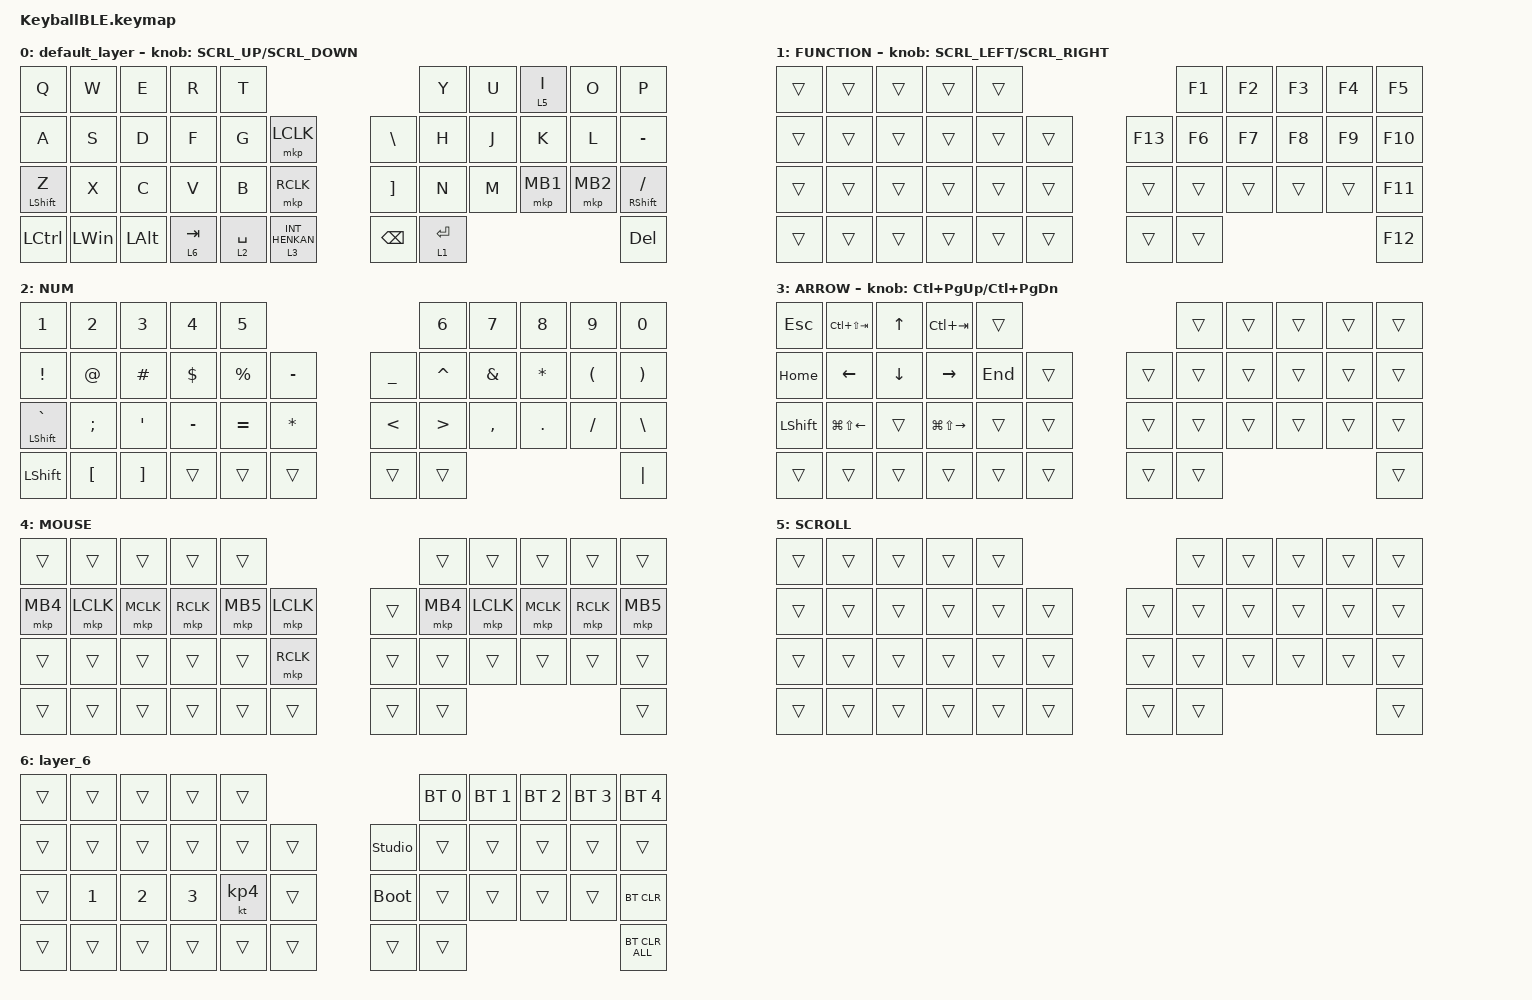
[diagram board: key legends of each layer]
#define ZMK_POINTING_DEFAULT_SCRL_VAL 120    // default: 10

#include <behaviors.dtsi>
#include <dt-bindings/zmk/bt.h>
#include <dt-bindings/zmk/keys.h>
#include <dt-bindings/zmk/pointing.h>

#define MOUSE 4
#define SCROLL 5
#define NUM 6

&mt {
    flavor = "balanced";
    quick-tap-ms = <0>;
};

/ {
    combos {
        compatible = "zmk,combos";

        double_quotation {
            bindings = <&kp DOUBLE_QUOTES>;
            key-positions = <20 21>;
        };
    };

    macros {
        to_layer_0: to_layer_0 {
            compatible = "zmk,behavior-macro-one-param";
            #binding-cells = <1>;
            bindings = <&to 0 &macro_param_1to1 &kp MACRO_PLACEHOLDER>;
            label = "TO_LAYER_0";
        };
    };

    behaviors {
        lt_to_layer_0: lt_to_layer_0 {
            compatible = "zmk,behavior-hold-tap";
            label = "LAYER_TAP_TO_0";
            bindings = <&mo>, <&to_layer_0>;

            #binding-cells = <2>;
            tapping-term-ms = <200>;
        };

        ROTATE: ROTATE {
            compatible = "zmk,behavior-sensor-rotate-var";
            label = "ROTATE";
            #sensor-binding-cells = <2>;
            bindings = <&msc>, <&msc>;

            tap-ms = <20>;
        };
    };

    keymap {
        compatible = "zmk,keymap";

        default_layer {
            bindings = <
&kp Q             &kp W         &kp E         &kp R                 &kp T                                                            &kp Y        &kp U  &lt 5 I   &kp O     &kp P
&kp A             &kp S         &kp D         &kp F                 &kp G        &mkp LCLK                        &kp BACKSLASH      &kp H        &kp J  &kp K     &kp L     &kp MINUS
&mt LEFT_SHIFT Z  &kp X         &kp C         &kp V                 &kp B        &mkp RCLK                        &kp RIGHT_BRACKET  &kp N        &kp M  &mkp MB1  &mkp MB2  &mt RIGHT_SHIFT SLASH
&kp LCTRL         &kp LEFT_WIN  &kp LEFT_ALT  &lt_to_layer_0 6 TAB  &lt 2 SPACE  &lt_to_layer_0 3 INT_HENKAN      &kp BACKSPACE      &lt 1 ENTER                             &kp DEL
            >;

            sensor-bindings = <&ROTATE SCRL_UP SCRL_DOWN>;
        };

        FUNCTION {
            bindings = <
&trans  &trans  &trans  &trans  &trans                       &kp F1  &kp F2  &kp F3  &kp F4  &kp F5
&trans  &trans  &trans  &trans  &trans  &trans      &kp F13  &kp F6  &kp F7  &kp F8  &kp F9  &kp F10
&trans  &trans  &trans  &trans  &trans  &trans      &trans   &trans  &trans  &trans  &trans  &kp F11
&trans  &trans  &trans  &trans  &trans  &trans      &trans   &trans                          &kp F12
            >;

            sensor-bindings = <&ROTATE SCRL_LEFT SCRL_RIGHT>;
        };

        NUM {
            bindings = <
&kp N1                &kp NUMBER_2      &kp NUMBER_3       &kp NUMBER_4  &kp NUMBER_5                                    &kp NUMBER_6      &kp N7         &kp N8        &kp N9                &kp N0
&kp EXCLAMATION       &kp AT_SIGN       &kp HASH           &kp DOLLAR    &kp PERCENT   &kp MINUS         &kp UNDERSCORE  &kp CARET         &kp AMPERSAND  &kp ASTERISK  &kp LEFT_PARENTHESIS  &kp RIGHT_PARENTHESIS
&mt LEFT_SHIFT GRAVE  &kp SEMICOLON     &kp SQT            &kp MINUS     &kp EQUAL     &kp ASTERISK      &kp LESS_THAN   &kp GREATER_THAN  &kp COMMA      &kp PERIOD    &kp SLASH             &kp BACKSLASH
&kp LEFT_SHIFT        &kp LEFT_BRACKET  &kp RIGHT_BRACKET  &trans        &trans        &trans            &trans          &trans                                                               &kp PIPE
            >;
        };

        ARROW {
            bindings = <
&kp ESCAPE      &kp LC(LS(TAB))         &kp UP_ARROW    &kp LC(TAB)              &trans                       &trans  &trans  &trans  &trans  &trans
&kp HOME        &kp LEFT_ARROW          &kp DOWN_ARROW  &kp RIGHT_ARROW          &kp END  &trans      &trans  &trans  &trans  &trans  &trans  &trans
&kp LEFT_SHIFT  &kp LG(LS(LEFT_ARROW))  &trans          &kp LG(LS(RIGHT_ARROW))  &trans   &trans      &trans  &trans  &trans  &trans  &trans  &trans
&trans          &trans                  &trans          &trans                   &trans   &trans      &trans  &trans                          &trans
            >;

            sensor-bindings = <&inc_dec_kp LC(PAGE_UP) LC(PAGE_DOWN)>;
        };

        MOUSE {
            bindings = <
&trans    &trans     &trans     &trans     &trans                           &trans    &trans     &trans     &trans     &trans
&mkp MB4  &mkp LCLK  &mkp MCLK  &mkp RCLK  &mkp MB5  &mkp LCLK      &trans  &mkp MB4  &mkp LCLK  &mkp MCLK  &mkp RCLK  &mkp MB5
&trans    &trans     &trans     &trans     &trans    &mkp RCLK      &trans  &trans    &trans     &trans     &trans     &trans
&trans    &trans     &trans     &trans     &trans    &trans         &trans  &trans                                     &trans
            >;
        };

        SCROLL {
            bindings = <
&trans  &trans  &trans  &trans  &trans                      &trans  &trans  &trans  &trans  &trans
&trans  &trans  &trans  &trans  &trans  &trans      &trans  &trans  &trans  &trans  &trans  &trans
&trans  &trans  &trans  &trans  &trans  &trans      &trans  &trans  &trans  &trans  &trans  &trans
&trans  &trans  &trans  &trans  &trans  &trans      &trans  &trans                          &trans
            >;
        };

        layer_6 {
            bindings = <
&trans  &trans        &trans        &trans        &trans                                 &bt BT_SEL 0  &bt BT_SEL 1  &bt BT_SEL 2  &bt BT_SEL 3  &bt BT_SEL 4
&trans  &trans        &trans        &trans        &trans     &trans      &studio_unlock  &trans        &trans        &trans        &trans        &trans
&trans  &kp NUMBER_1  &kp NUMBER_2  &kp NUMBER_3  &kt KP_N4  &trans      &bootloader     &trans        &trans        &trans        &trans        &bt BT_CLR
&trans  &trans        &trans        &trans        &trans     &trans      &trans          &trans                                                  &bt BT_CLR_ALL
            >;
        };
    };
};
